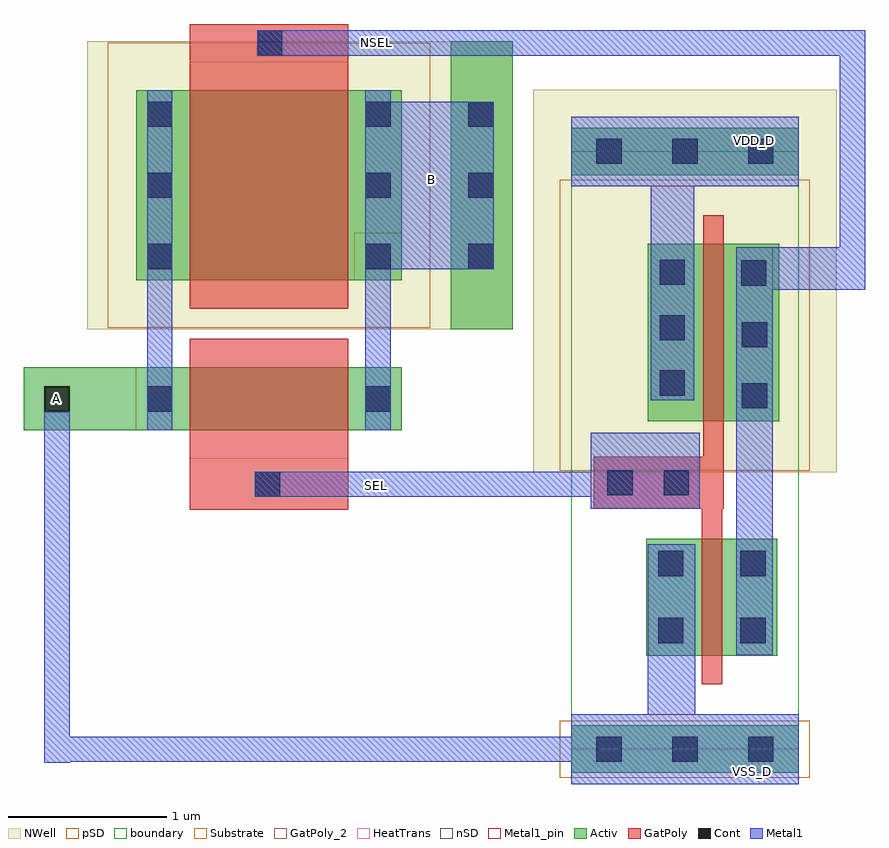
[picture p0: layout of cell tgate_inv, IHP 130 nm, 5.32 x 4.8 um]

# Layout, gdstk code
import gdstk
lib = gdstk.Library(unit=1e-6, precision=5e-09)
def R(c, l, rs):  # rectangles x0, y0, x1, y1
    for r in rs: c.add(gdstk.rectangle(r[:2], r[2:], *l))
def A(c, l, x, y, w, h, nx, ny, dx, dy):  # array of equal rectangles
    R(c, l, [(x+i*dx, y+j*dy, x+i*dx+w, y+j*dy+h) for i in range(nx) for j in range(ny)])
def P(c, l, *ps):  # polygons
    for p in ps: c.add(gdstk.Polygon(p, *l))
Activ = (1, 0)
GatPoly = (5, 0)
GatPoly_2 = (5, 2)
Cont = (6, 0)
nSD = (7, 0)
Metal1 = (8, 0)
Metal1_pin = (8, 2)
pSD = (14, 0)
NWell = (31, 0)
Substrate = (40, 0)
HeatTrans = (51, 0)
boundary = (189, 4)

pmos = lib.new_cell('pmos')
R(pmos, Activ, [(0,0,0.3,0.3), (0,0,1.68,1.2), (1.38,0,1.68,0.3)])
R(pmos, GatPoly, [(0.34,-0.18,1.34,1.38), (0.34,-0.18,1.34,1.38)])
A(pmos, Cont, 0.07, 0.07, 0.16, 0.16, 1, 3, 0, 0.45)
A(pmos, Cont, 1.45, 0.07, 0.16, 0.16, 1, 3, 0, 0.45)
R(pmos, Metal1, [(0.07,0,0.23,1.2), (0.07,0,0.23,1.2), (1.45,0,1.61,1.2), (1.45,0,1.61,1.2)])
R(pmos, pSD, [(-0.18,-0.3,1.86,1.5)])
R(pmos, NWell, [(-0.31,-0.31,1.99,1.51)])
R(pmos, Substrate, [(1.38,0,1.68,0.3)])
R(pmos, HeatTrans, [(0.34,-0.18,1.34,1.38)])
pmos.add(gdstk.Label('pmos', (0.84,0.6), layer=63, texttype=0))
pmos.add(gdstk.Label('pmos', (0.84,0.6), layer=51, texttype=0))

nmos = lib.new_cell('nmos')
R(nmos, Activ, [(0,0,0.3,0.3), (0,0,1.68,0.4), (1.38,0,1.68,0.3)])
R(nmos, GatPoly, [(0.34,-0.18,1.34,0.58)])
R(nmos, GatPoly_2, [(0.34,-0.18,1.34,0.58)])
R(nmos, Cont, [(0.07,0.12,0.23,0.28), (1.45,0.12,1.61,0.28)])
R(nmos, Metal1, [(0.07,0,0.23,0.4), (1.45,0,1.61,0.4)])
R(nmos, Metal1_pin, [(0.07,0,0.23,0.4), (1.45,0,1.61,0.4)])
R(nmos, HeatTrans, [(0.34,-0.18,1.34,0.58)])
nmos.add(gdstk.Label('nmos', (0.84,0.2), layer=63, texttype=0))
nmos.add(gdstk.Label('nmos', (0.84,0.2), layer=51, texttype=0))

tgate_inv = lib.new_cell('tgate_inv')
R(tgate_inv, Activ, [(-2.74,-1.99,-1.3,-1.69), (-2.265,-1.25,-1.435,-0.51), (-6.2,0.175,-5.49,0.575), (-2.255,0.235,-1.425,1.355), (-3.5,0.815,-3.11,2.635), (-2.74,1.79,-1.3,2.09)])
R(tgate_inv, GatPoly, [(-5.15,-0.325,-4.15,-0.005), (-5.15,2.425,-4.15,2.745)])
P(tgate_inv, GatPoly, [(-1.915,-1.43),(-1.915,-0.32),(-2.595,-0.32),(-2.595,0.01),(-1.905,0.01),(-1.905,1.535),(-1.775,1.535),(-1.775,-0.32),(-1.785,-0.32),(-1.785,-1.43)])
A(tgate_inv, Cont, -2.18, 0.395, 0.16, 0.16, 1, 3, 0, 0.35)
A(tgate_inv, Cont, -3.39, 1.195, 0.16, 0.16, 1, 3, 0, 0.45)
R(tgate_inv, Cont, [(-2.58,-1.92,-2.42,-1.76), (-2.58,-1.92,-2.42,-1.76), (-2.1,-1.92,-1.94,-1.76), (-2.1,-1.92,-1.94,-1.76), (-1.62,-1.92,-1.46,-1.76), (-1.62,-1.92,-1.46,-1.76), (-2.19,-1.17,-2.03,-1.01), (-1.67,-1.17,-1.51,-1.01), (-2.19,-0.745,-2.03,-0.585), (-1.67,-0.745,-1.51,-0.585), (-4.74,-0.245,-4.58,-0.085), (-2.51,-0.235,-2.35,-0.075), (-2.155,-0.235,-1.995,-0.075), (-6.07,0.295,-5.91,0.455), (-1.66,0.315,-1.5,0.475), (-1.66,0.7,-1.5,0.86), (-1.665,1.09,-1.505,1.25), (-2.58,1.86,-2.42,2.02), (-2.58,1.86,-2.42,2.02), (-2.1,1.86,-1.94,2.02), (-2.1,1.86,-1.94,2.02), (-1.62,1.86,-1.46,2.02), (-1.62,1.86,-1.46,2.02), (-4.725,2.545,-4.565,2.705)])
R(tgate_inv, nSD, [(-3.5,0.815,-3.11,2.635)])
R(tgate_inv, Metal1, [(-1.695,-1.245,-1.465,1.335), (-2.615,-0.32,-1.925,0.16), (-4.74,-0.245,-3.895,-0.085), (-5.42,0.575,-5.26,1.125), (-4.04,0.575,-3.88,1.125), (-1.465,1.065,-1.04,1.335), (-3.88,1.195,-3.39,2.255), (-3.39,1.195,-3.23,2.255), (-4.725,2.545,-3.88,2.705)])
P(tgate_inv, Metal1, [(-2.235,0.365),(-2.235,1.72),(-2.74,1.72),(-2.74,2.16),(-1.3,2.16),(-1.3,1.72),(-1.96,1.72),(-1.96,0.365)],
  [(-2.74,-2.06),(-2.74,-1.62),(-2.255,-1.62),(-2.255,-0.545),(-1.955,-0.545),(-1.955,-1.62),(-1.3,-1.62),(-1.3,-2.06)])
R(tgate_inv, Metal1_pin, [(-2.74,-2.06,-1.3,-1.62), (-1.695,-1.245,-1.465,1.335), (-2.615,-0.32,-1.925,0.16), (-2.74,1.72,-1.3,2.16)])
R(tgate_inv, pSD, [(-2.81,-2.02,-1.23,-1.66), (-2.81,-0.08,-1.23,1.76), (-6.2,0.175,-5.49,0.575)])
R(tgate_inv, NWell, [(-2.98,-0.09,-1.06,2.33), (-3.5,0.815,-3.11,2.635)])
R(tgate_inv, boundary, [(-2.74,-1.84,-1.3,1.94)])
tgate_inv.add(gdstk.FlexPath([(-3.895,-0.165),(-2.615,-0.165),(-2.615,-0.165)], 0.16, ends="flush", simple_path=True, layer=8, datatype=0))  # Metal1
tgate_inv.add(gdstk.FlexPath([(-3.88,2.625),(-0.88,2.625)], 0.16, ends="flush", simple_path=True, layer=8, datatype=0))  # Metal1
tgate_inv.add(gdstk.FlexPath([(-0.96,2.545),(-0.96,1.065)], 0.16, ends="flush", simple_path=True, layer=8, datatype=0))  # Metal1
tgate_inv.add(gdstk.FlexPath([(-2.735,-1.84),(-6.05,-1.84),(-6.05,-1.84)], 0.16, ends="flush", simple_path=True, layer=8, datatype=0))  # Metal1
tgate_inv.add(gdstk.FlexPath([(-5.99,0.295),(-5.99,-1.925)], 0.16, ends="flush", simple_path=True, layer=8, datatype=0))  # Metal1
tgate_inv.add(gdstk.Reference(pmos, (-5.49,1.125)))
tgate_inv.add(gdstk.Reference(nmos, (-5.49,0.175)))
tgate_inv.add(gdstk.Label('B', (-3.625,1.765), layer=8, texttype=2))
tgate_inv.add(gdstk.Label('A', (-5.99,0.38), layer=8, texttype=2))
tgate_inv.add(gdstk.Label('SEL', (-3.97,-0.17), layer=8, texttype=2))
tgate_inv.add(gdstk.Label('NSEL', (-3.97,2.625), layer=8, texttype=2))
tgate_inv.add(gdstk.Label('VSS_D', (-1.59,-1.98), layer=8, texttype=2))
tgate_inv.add(gdstk.Label('VDD_D', (-1.58,2.01), layer=8, texttype=2))

lib.write_gds('tgate_inv.gds')
